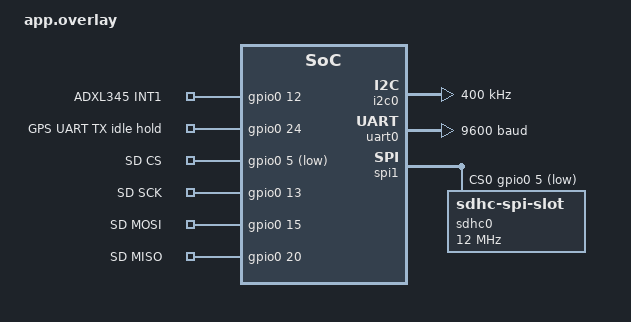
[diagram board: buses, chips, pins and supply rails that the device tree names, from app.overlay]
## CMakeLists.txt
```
cmake_minimum_required(VERSION 3.20.0)

find_package(Zephyr REQUIRED HINTS $ENV{ZEPHYR_BASE})
project(open_livestock_zephyr_logger)

target_sources(app PRIVATE
  src/main.c
  src/olg_adxl345.c
  src/olg_ble.c
  src/olg_bt.c
  src/olg_config.c
  src/olg_gateway.c
  src/olg_gps.c
  src/olg_power.c
  src/olg_ring.c
  src/olg_sd.c
  src/olg_storage.c
  src/olg_time.c
)
```

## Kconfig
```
mainmenu "Open Livestock GPS Zephyr Logger"

menu "Open Livestock GPS options"

config OLG_ACC_ENABLE
	bool "Enable ADXL345 accelerometer"
	default y

config OLG_ACC_ODR_MILLIHZ
	int "Accelerometer output data rate in millihertz"
	default 12500

config OLG_ACC_RANGE_G
	int "ADXL345 measurement range in g"
	default 16
	range 2 16
	help
	  Production CONFIG.TXT supports 2, 4, 8, and 16 g. Other values fall
	  back to 16 g at runtime.

config OLG_ACC_FIFO_WATERMARK
	int "Internal ADXL345 FIFO watermark sample count"
	default 25
	range 1 31
	help
	  Compile-time queueing detail. Field firmware exposes sample rate and
	  g range in CONFIG.TXT; the FIFO watermark stays internal.

config OLG_ACC_I2C_ADDR_PRIMARY
	hex "Primary ADXL345 I2C address"
	default 0x53

config OLG_ACC_I2C_ADDR_SECONDARY
	hex "Secondary ADXL345 I2C address"
	default 0x1d

config OLG_RING_BYTES
	int "RAM ring buffer size in bytes"
	default 32768

config OLG_RING_NORMAL_THRESHOLD_PERCENT
	int "Ring buffer normal flush threshold percent"
	default 95
	range 0 100

config OLG_RING_EMERG_THRESHOLD_PERCENT
	int "Ring buffer emergency flush threshold percent"
	default 98
	range 0 100

config OLG_BLE_ENABLE
	bool "Enable BLE observer scanner"
	default y
	depends on BT

config OLG_BLE_PERIOD_MS
	int "BLE scan period in milliseconds"
	default 60000

config OLG_BLE_WINDOW_MS
	int "BLE scan window duration in milliseconds"
	default 10000

config OLG_BLE_SCAN_INTERVAL_MS
	int "BLE scan interval in milliseconds"
	default 100

config OLG_BLE_SCAN_DUTY_PERMILLE
	int "BLE scan duty within scan interval, in per-mille"
	default 100
	range 1 1000

config OLG_GPS_ENABLE
	bool "Enable GPS UART/NMEA logger"
	default n
	depends on SERIAL

config OLG_GPS_INTERVAL_MS
	int "GPS attempt interval in milliseconds"
	default 180000
	depends on OLG_GPS_ENABLE

config OLG_GPS_TIMEOUT_MS
	int "GPS attempt timeout in milliseconds"
	default 15000
	depends on OLG_GPS_ENABLE

config OLG_GPS_BAUD
	int "GPS UART baud rate"
	default 9600
	depends on OLG_GPS_ENABLE

config OLG_GPS_MIN_SATS
	int "Minimum satellites before accepting a GPS fix"
	default 4
	range 0 32
	depends on OLG_GPS_ENABLE

config OLG_GPS_MIN_HDOP_CENTI
	int "Maximum accepted HDOP multiplied by 100"
	default 250
	depends on OLG_GPS_ENABLE

config OLG_GPS_BACKUP_SLEEP_ENABLE
	bool "Request SAM-M10Q backup sleep between GPS attempts"
	default y
	depends on OLG_GPS_ENABLE

config OLG_GPS_TX_IDLE_HIGH
	bool "Hold MCU GPS TX high after UART suspend"
	default y
	depends on OLG_GPS_ENABLE

config OLG_GPS_WAKE_SETTLE_MS
	int "GPS wake settle delay in milliseconds"
	default 250
	depends on OLG_GPS_ENABLE

config OLG_GPS_SLEEP_REFRESH_MS
	int "GPS backup sleep refresh period in milliseconds"
	default 30000
	depends on OLG_GPS_ENABLE

config OLG_GPS_POLL_BYTE_BUDGET
	int "Maximum GPS UART bytes processed per service pass"
	default 96
	range 1 512
	depends on OLG_GPS_ENABLE

config OLG_SD_ENABLE
	bool "Enable SD/FatFs binary log flush"
	default n
	depends on SPI && DISK_ACCESS && FILE_SYSTEM && FAT_FILESYSTEM_ELM

config OLG_SD_CLOSE_BETWEEN_FLUSHES
	bool "Close files and unmount SD between flush bursts"
	default y
	depends on OLG_SD_ENABLE

config OLG_SD_SEND_CMD0_ON_SLEEP
	bool "Send CMD0 by GPIO bit-bang before releasing SD bus"
	default y
	depends on OLG_SD_ENABLE

config OLG_SD_RELEASE_SPI_PINS_ON_SLEEP
	bool "Drive SD SPI pins to low-power states after writes"
	default y
	depends on OLG_SD_ENABLE

config OLG_SD_SYNC_EACH_LINE
	bool "Sync each binary block instead of syncing on close"
	default n
	depends on OLG_SD_ENABLE

config OLG_SD_BINARY_PAYLOAD_BYTES
	int "Maximum binary log payload per block"
	default 4096
	range 256 16384
	depends on OLG_SD_ENABLE

config OLG_SD_SEGMENT_BYTES
	int "Binary log segment rotation size"
	default 8388608
	depends on OLG_SD_ENABLE

config OLG_SD_FLUSH_FIRST_MS
	int "First failsafe SD flush delay in milliseconds"
	default 180000
	depends on OLG_SD_ENABLE

config OLG_SD_FLUSH_FAILSAFE_MS
	int "Recurring failsafe SD flush delay in milliseconds"
	default 900000
	depends on OLG_SD_ENABLE

config OLG_SD_FLUSH_MAX_EVENTS_BURST
	int "Maximum ring events to write per SD service burst"
	default 200
	range 1 2000
	depends on OLG_SD_ENABLE

config OLG_SD_RETRY_BACKOFF_MS
	int "SD retry backoff after a write/mount failure"
	default 300000
	depends on OLG_SD_ENABLE

config OLG_SD_BLOCK_FLUSH_DURING_GPS
	bool "Block non-emergency SD flushes during GPS attempts"
	default y
	depends on OLG_SD_ENABLE

config OLG_STATUS_LED
	bool "Enable solid status LED on startup fault"
	default n

config OLG_GATEWAY_ENABLE
	bool "Enable GATT gateway offload"
	default y
	depends on BT && BT_PERIPHERAL && BT_BROADCASTER

config OLG_GATEWAY_PERIOD_MS
	int "Gateway advertising period in milliseconds"
	default 60000
	depends on OLG_GATEWAY_ENABLE
	help
	  Backward-compatible alias for the eligible advertising period. New
	  runtime CONFIG.TXT files should prefer gateway_eligible_adv_period_ms.

config OLG_GATEWAY_UPLOAD_ACC
	bool "Allow gateway offload of raw accelerometer records"
	default n
	depends on OLG_GATEWAY_ENABLE
	help
	  The SD card always keeps the full binary archive. Keep this disabled for
	  lightweight gateway mode so the radio only carries GPS/BLE records.

config OLG_GATEWAY_UPLOAD_GPS
	bool "Allow gateway offload of GPS records"
	default y
	depends on OLG_GATEWAY_ENABLE

config OLG_GATEWAY_UPLOAD_BLE
	bool "Allow gateway offload of BLE records"
	default y
	depends on OLG_GATEWAY_ENABLE

config OLG_GATEWAY_ADV_WINDOW_MS
	int "Gateway advertising window in milliseconds"
	default 5000
	depends on OLG_GATEWAY_ENABLE
	help
	  Backward-compatible alias for the eligible advertising window. New
	  runtime CONFIG.TXT files should prefer gateway_eligible_adv_window_ms.

config OLG_GATEWAY_DOWNLOAD_COOLDOWN_MS
	int "Cooldown after a successful gateway download"
	default 21600000
	depends on OLG_GATEWAY_ENABLE

config OLG_GATEWAY_ELIGIBLE_ADV_PERIOD_MS
	int "Eligible gateway advertising period"
	default 60000
	depends on OLG_GATEWAY_ENABLE

config OLG_GATEWAY_ELIGIBLE_ADV_WINDOW_MS
	int "Eligible gateway advertising burst length"
	default 5000
	depends on OLG_GATEWAY_ENABLE

config OLG_GATEWAY_COOLDOWN_ADV_ENABLE
	bool "Advertise presence while inside gateway cooldown"
	default y
	depends on OLG_GATEWAY_ENABLE

config OLG_GATEWAY_COOLDOWN_ADV_PERIOD_MS
	int "Cooldown gateway advertising period"
	default 600000
	depends on OLG_GATEWAY_ENABLE

config OLG_GATEWAY_COOLDOWN_ADV_WINDOW_MS
	int "Cooldown gateway advertising burst length"
	default 3000
	depends on OLG_GATEWAY_ENABLE

config OLG_GATEWAY_SESSION_TIMEOUT_MS
	int "Gateway connection timeout in milliseconds"
	default 180000
	depends on OLG_GATEWAY_ENABLE

config OLG_GATEWAY_RETRY_COUNT
	int "Gateway short retry windows after failed transfer"
	default 2
	range 0 255
	depends on OLG_GATEWAY_ENABLE

config OLG_GATEWAY_RETRY_MIN_MS
	int "Minimum failed-transfer retry delay"
	default 60000
	depends on OLG_GATEWAY_ENABLE

config OLG_GATEWAY_RETRY_MAX_MS
	int "Maximum failed-transfer retry delay"
	default 180000
	depends on OLG_GATEWAY_ENABLE

config OLG_GATEWAY_CHUNK_BYTES
	int "Maximum GATT data payload per notify chunk"
	default 180
	range 32 240
	depends on OLG_GATEWAY_ENABLE

config OLG_MAIN_IDLE_MAX_MS
	int "Maximum main-loop sleep interval"
	default 60000

endmenu

source "Kconfig.zephyr"
```

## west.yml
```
manifest:
  version: "0.13"

  remotes:
    - name: zephyrproject-rtos
      url-base: https://github.com/zephyrproject-rtos

  projects:
    - name: zephyr
      remote: zephyrproject-rtos
      revision: v4.4.0
      import: true

  self:
    path: ZephyrLogger
```

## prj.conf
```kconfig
# Production runtime: compile in ACC, BLE, GPS, and SD. CONFIG.TXT decides
# which subsystems run in the field.
CONFIG_GPIO=y
CONFIG_I2C=y
CONFIG_SPI=y
CONFIG_SERIAL=y
CONFIG_RING_BUFFER=y
CONFIG_RING_BUFFER_LARGE=y
CONFIG_DISK_ACCESS=y
CONFIG_FILE_SYSTEM=y
CONFIG_FAT_FILESYSTEM_ELM=y
CONFIG_FS_FATFS_NUM_FILES=4
CONFIG_FS_FATFS_NUM_DIRS=1
CONFIG_FS_FATFS_HAS_RTC=n

CONFIG_BT=y
CONFIG_BT_OBSERVER=y
CONFIG_BT_DEVICE_NAME="OLG-Zephyr"
CONFIG_BT_SETTINGS=n
CONFIG_BT_PERIPHERAL=y
CONFIG_BT_BROADCASTER=y
CONFIG_BT_CENTRAL=n
CONFIG_BT_MAX_CONN=1
CONFIG_BT_L2CAP_TX_MTU=247
CONFIG_BT_BUF_ACL_RX_SIZE=251
CONFIG_BT_BUF_ACL_TX_SIZE=251

CONFIG_PM_DEVICE=y

CONFIG_LOG=n
CONFIG_PRINTK=n
CONFIG_CONSOLE=n
CONFIG_UART_CONSOLE=n
CONFIG_BOOT_BANNER=n
CONFIG_EARLY_CONSOLE=n
CONFIG_BOARD_SERIAL_BACKEND_CDC_ACM=n
CONFIG_USB_DEVICE_STACK=n
CONFIG_USB_DEVICE_STACK_NEXT=n
CONFIG_USBD_CDC_ACM_CLASS=n
CONFIG_CDC_ACM_SERIAL_INITIALIZE_AT_BOOT=n

CONFIG_MAIN_STACK_SIZE=4096
CONFIG_SYSTEM_WORKQUEUE_STACK_SIZE=2048

CONFIG_OLG_ACC_ENABLE=y
CONFIG_OLG_BLE_ENABLE=y
CONFIG_OLG_GPS_ENABLE=y
CONFIG_OLG_SD_ENABLE=y
CONFIG_OLG_GATEWAY_ENABLE=y

CONFIG_OLG_STATUS_LED=y
```

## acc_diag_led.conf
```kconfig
CONFIG_OLG_STATUS_LED=y
CONFIG_OLG_ACC_DIAG_LED=y
CONFIG_OLG_ACC_DIAG_LED_MS=150
CONFIG_OLG_ACC_DIAG_POLL_MS=2000
```

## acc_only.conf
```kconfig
CONFIG_BT=n
CONFIG_OLG_BLE_ENABLE=n
CONFIG_OLG_ACC_ENABLE=y
```

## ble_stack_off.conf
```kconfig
CONFIG_OLG_BLE_DISABLE_STACK_BETWEEN_WINDOWS=y
```

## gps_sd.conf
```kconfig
# GPS + SD feature-parity test build. ACC and BLE remain enabled from prj.conf.
CONFIG_SERIAL=y
CONFIG_SPI=y
CONFIG_DISK_ACCESS=y
CONFIG_FILE_SYSTEM=y
CONFIG_FAT_FILESYSTEM_ELM=y
CONFIG_FS_FATFS_NUM_FILES=4
CONFIG_FS_FATFS_NUM_DIRS=1
CONFIG_FS_FATFS_HAS_RTC=n
CONFIG_OLG_STATUS_LED=y

CONFIG_OLG_GPS_ENABLE=y
CONFIG_OLG_GPS_INTERVAL_MS=180000
CONFIG_OLG_GPS_TIMEOUT_MS=15000
CONFIG_OLG_GPS_BACKUP_SLEEP_ENABLE=y
CONFIG_OLG_GPS_TX_IDLE_HIGH=y
CONFIG_OLG_GPS_SLEEP_REFRESH_MS=30000

CONFIG_OLG_SD_ENABLE=y
CONFIG_OLG_SD_STARTUP_CHECK=y
CONFIG_OLG_SD_CLOSE_BETWEEN_FLUSHES=y
CONFIG_OLG_SD_SEND_CMD0_ON_SLEEP=y
CONFIG_OLG_SD_RELEASE_SPI_PINS_ON_SLEEP=y
CONFIG_OLG_SD_SYNC_EACH_LINE=n
CONFIG_OLG_SD_FLUSH_FIRST_MS=180000
CONFIG_OLG_SD_FLUSH_FAILSAFE_MS=900000
```

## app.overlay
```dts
#include <zephyr/dt-bindings/gpio/gpio.h>

/ {
	aliases {
		olg-adxl-int = &olg_adxl_int;
		olg-gps-tx = &olg_gps_tx;
		olg-sd-slot = &sdhc0;
		olg-sd-cs = &olg_sd_cs;
		olg-sd-sck = &olg_sd_sck;
		olg-sd-mosi = &olg_sd_mosi;
		olg-sd-miso = &olg_sd_miso;
	};

	olg_adxl_ints {
		compatible = "gpio-keys";

		olg_adxl_int: adxl_int {
			gpios = <&gpio0 12 GPIO_ACTIVE_HIGH>; /* ItsyBitsy D13 / P0.12 */
			label = "ADXL345 INT1";
		};
	};

	olg_gps_pins {
		compatible = "gpio-keys";

		olg_gps_tx: gps_tx {
			gpios = <&gpio0 24 GPIO_ACTIVE_HIGH>; /* ItsyBitsy D1 / GPS RX */
			label = "GPS UART TX idle hold";
		};
	};

	olg_sd_pins {
		compatible = "gpio-keys";

		olg_sd_cs: sd_cs {
			gpios = <&gpio0 5 GPIO_ACTIVE_LOW>; /* ItsyBitsy D10 */
			label = "SD CS";
		};

		olg_sd_sck: sd_sck {
			gpios = <&gpio0 13 GPIO_ACTIVE_HIGH>; /* ItsyBitsy D25 */
			label = "SD SCK";
		};

		olg_sd_mosi: sd_mosi {
			gpios = <&gpio0 15 GPIO_ACTIVE_HIGH>; /* ItsyBitsy D24 */
			label = "SD MOSI";
		};

		olg_sd_miso: sd_miso {
			gpios = <&gpio0 20 GPIO_ACTIVE_HIGH>; /* ItsyBitsy D23 */
			label = "SD MISO";
		};
	};
};

&i2c0 {
	status = "okay";
	clock-frequency = <400000>;
};

&uart0 {
	status = "okay";
	current-speed = <9600>;
};

&spi1 {
	status = "okay";
	cs-gpios = <&gpio0 5 GPIO_ACTIVE_LOW>;

	sdhc0: sdhc@0 {
		compatible = "zephyr,sdhc-spi-slot";
		reg = <0>;
		status = "okay";
		spi-max-frequency = <12000000>;
		power-delay-ms = <5>;

		mmc {
			compatible = "zephyr,sdmmc-disk";
			disk-name = "SD";
			status = "okay";
		};
	};
};

/* Keep the production logger quiet and avoid unused board peripherals. */
&adc {
	status = "disabled";
};

&usbd {
	status = "disabled";
};

&spi2 {
	status = "disabled"; /* DotStar SPI */
};

&qspi {
	status = "disabled";
};
```

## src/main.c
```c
#include <stdbool.h>
#include <stdint.h>

#include <zephyr/kernel.h>
#include <zephyr/sys/util.h>

#include "olg_adxl345.h"
#include "olg_ble.h"
#include "olg_config.h"
#include "olg_gateway.h"
#include "olg_gps.h"
#include "olg_power.h"
#include "olg_ring.h"
#include "olg_sd.h"
#include "olg_storage.h"
#include "olg_time.h"

static uint32_t min_u32(uint32_t a, uint32_t b)
{
	return a < b ? a : b;
}

static uint32_t bounded_idle_ms(uint32_t now_ms)
{
	uint32_t idle_ms = CONFIG_OLG_MAIN_IDLE_MAX_MS;

	if (idle_ms < 1U) {
		idle_ms = 1U;
	}

	idle_ms = min_u32(idle_ms, olg_ble_ms_until_transition(now_ms));
	idle_ms = min_u32(idle_ms, olg_gateway_ms_until_transition(now_ms));
	idle_ms = min_u32(idle_ms, olg_gps_ms_until_transition(now_ms));
	idle_ms = min_u32(idle_ms, olg_sd_ms_until_transition(now_ms));

	if (idle_ms < 1U || idle_ms == UINT32_MAX) {
		idle_ms = 1U;
	}

	return idle_ms;
}

int main(void)
{
	bool init_failed = false;
	bool storage_ready = false;

	if (olg_power_init()) {
		init_failed = true;
	}

	olg_time_init();
	olg_ring_init();
	olg_config_init_defaults();

	if (!init_failed && olg_storage_startup()) {
		init_failed = true;
	} else if (!init_failed) {
		storage_ready = true;
	}

	if (storage_ready) {
		if (olg_adxl345_init()) {
			init_failed = true;
		}
		if (olg_ble_init()) {
			init_failed = true;
		}
		if (olg_gateway_init()) {
			init_failed = true;
		}
		if (olg_gps_init()) {
			init_failed = true;
		}
	}

	if (init_failed) {
		olg_power_status_fault();
	} else {
		olg_power_status_ok();
	}

	while (true) {
		uint32_t now_ms = k_uptime_get_32();

		if (storage_ready) {
			olg_gateway_service(now_ms);
			olg_ble_service(now_ms);
			olg_gps_service(now_ms);
			olg_sd_service(now_ms);
		}

		olg_power_idle(storage_ready ? bounded_idle_ms(k_uptime_get_32()) :
			       CONFIG_OLG_MAIN_IDLE_MAX_MS);
	}

	return 0;
}
```

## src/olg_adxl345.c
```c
#include "olg_adxl345.h"

#include <errno.h>

#include <zephyr/device.h>
#include <zephyr/drivers/gpio.h>
#include <zephyr/drivers/i2c.h>
#include <zephyr/kernel.h>
#include <zephyr/pm/device.h>
#include <zephyr/sys/atomic.h>

#include "olg_config.h"
#include "olg_ring.h"

#define ADXL_DEVID_VALUE 0xe5

#define REG_DEVID       0x00
#define REG_BW_RATE     0x2c
#define REG_POWER_CTL   0x2d
#define REG_INT_ENABLE  0x2e
#define REG_INT_MAP     0x2f
#define REG_INT_SOURCE  0x30
#define REG_DATA_FORMAT 0x31
#define REG_DATAX0      0x32
#define REG_FIFO_CTL    0x38
#define REG_FIFO_STATUS 0x39

#define INT_OVERRUN     BIT(0)
#define INT_WATERMARK   BIT(1)

#define DATA_FORMAT_FULL_RES BIT(3)
#define DATA_FORMAT_RANGE_2G  0x00
#define DATA_FORMAT_RANGE_4G  0x01
#define DATA_FORMAT_RANGE_8G  0x02
#define DATA_FORMAT_RANGE_16G 0x03
#define POWER_CTL_MEASURE    BIT(3)
#define FIFO_STREAM_MODE     0x80

#define ADXL_INT_NODE DT_ALIAS(olg_adxl_int)

static const struct device *const i2c_dev = DEVICE_DT_GET(DT_NODELABEL(i2c0));
static const struct gpio_dt_spec int_gpio = GPIO_DT_SPEC_GET(ADXL_INT_NODE, gpios);
static struct gpio_callback int_cb;
static struct k_work drain_work;

static uint8_t adxl_addr;
static atomic_t sample_count;
static atomic_t drain_count;
static atomic_t i2c_failures;

static int configure_fifo_interrupt(gpio_flags_t flags)
{
	return gpio_pin_interrupt_configure_dt(&int_gpio, flags);
}

static void resume_i2c(void)
{
	if (IS_ENABLED(CONFIG_PM_DEVICE)) {
		(void)pm_device_action_run(i2c_dev, PM_DEVICE_ACTION_RESUME);
	}
}

static void suspend_i2c(void)
{
	if (IS_ENABLED(CONFIG_PM_DEVICE)) {
		(void)pm_device_action_run(i2c_dev, PM_DEVICE_ACTION_SUSPEND);
	}
}

static int write_reg(uint8_t reg, uint8_t value)
{
	uint8_t data[2] = { reg, value };
	int err = i2c_write(i2c_dev, data, sizeof(data), adxl_addr);

	if (err) {
		atomic_inc(&i2c_failures);
	}

	return err;
}

static int read_regs(uint8_t reg, uint8_t *dst, size_t len)
{
	int err = i2c_write_read(i2c_dev, adxl_addr, &reg, 1, dst, len);

	if (err) {
		atomic_inc(&i2c_failures);
	}

	return err;
}

static int read_reg_at(uint8_t addr, uint8_t reg, uint8_t *value)
{
	int err = i2c_write_read(i2c_dev, addr, &reg, 1, value, 1);

	if (err) {
		atomic_inc(&i2c_failures);
	}

	return err;
}

static uint8_t bw_rate_for_millihz(uint32_t mhz)
{
	if (mhz <= 100) {
		return 0x00;
	}
	if (mhz <= 200) {
		return 0x01;
	}
	if (mhz <= 390) {
		return 0x02;
	}
	if (mhz <= 780) {
		return 0x03;
	}
	if (mhz <= 1560) {
		return 0x04;
	}
	if (mhz <= 3130) {
		return 0x05;
	}
	if (mhz <= 6250) {
		return 0x06;
	}
	if (mhz <= 12500) {
		return 0x07;
	}
	if (mhz <= 25000) {
		return 0x08;
	}
	if (mhz <= 50000) {
		return 0x09;
	}
	if (mhz <= 100000) {
		return 0x0a;
	}
	if (mhz <= 200000) {
		return 0x0b;
	}
	if (mhz <= 400000) {
		return 0x0c;
	}
	if (mhz <= 800000) {
		return 0x0d;
	}
	if (mhz <= 1600000) {
		return 0x0e;
	}

	return 0x0f;
}

static uint8_t data_format_range_bits(uint8_t range_g)
{
	switch (range_g) {
	case 2:
		return DATA_FORMAT_RANGE_2G;
	case 4:
		return DATA_FORMAT_RANGE_4G;
	case 8:
		return DATA_FORMAT_RANGE_8G;
	case 16:
	default:
		return DATA_FORMAT_RANGE_16G;
	}
}

static uint8_t fifo_watermark(void)
{
	if (CONFIG_OLG_ACC_FIFO_WATERMARK < 1) {
		return 1;
	}
	if (CONFIG_OLG_ACC_FIFO_WATERMARK > 31) {
		return 31;
	}

	return CONFIG_OLG_ACC_FIFO_WATERMARK;
}

static int find_adxl(void)
{
	uint8_t devid = 0;

	if (!read_reg_at(CONFIG_OLG_ACC_I2C_ADDR_PRIMARY, REG_DEVID, &devid) &&
	    devid == ADXL_DEVID_VALUE) {
		adxl_addr = CONFIG_OLG_ACC_I2C_ADDR_PRIMARY;
		return 0;
	}

	if (!read_reg_at(CONFIG_OLG_ACC_I2C_ADDR_SECONDARY, REG_DEVID, &devid) &&
	    devid == ADXL_DEVID_VALUE) {
		adxl_addr = CONFIG_OLG_ACC_I2C_ADDR_SECONDARY;
		return 0;
	}

	return -ENODEV;
}

static uint8_t fifo_entries(void)
{
	uint8_t status = 0;

	if (read_regs(REG_FIFO_STATUS, &status, 1)) {
		return 0;
	}

	return status & 0x3f;
}

static int read_raw_sample(int16_t *x, int16_t *y, int16_t *z)
{
	uint8_t raw[6];
	int err = read_regs(REG_DATAX0, raw, sizeof(raw));

	if (err) {
		return err;
	}

	*x = (int16_t)((raw[1] << 8) | raw[0]);
	*y = (int16_t)((raw[3] << 8) | raw[2]);
	*z = (int16_t)((raw[5] << 8) | raw[4]);
	return 0;
}

static void drain_fifo(struct k_work *work)
{
	ARG_UNUSED(work);

	resume_i2c();

	uint8_t src = 0;
	(void)read_regs(REG_INT_SOURCE, &src, 1);

	uint8_t entries = fifo_entries();
	if (entries > 32) {
		entries = 32;
	}

	const uint32_t now = k_uptime_get_32();
	const struct olg_config *cfg = olg_config_get();
	const uint32_t sample_period_ms =
		cfg->acc_odr_millihz > 0U ? (1000000U / cfg->acc_odr_millihz) : 0U;

	for (uint8_t i = 0; i < entries; i++) {
		int16_t x;
		int16_t y;
		int16_t z;

		if (read_raw_sample(&x, &y, &z)) {
			break;
		}

		uint32_t sample_ms = now;
		if (sample_period_ms > 0) {
			uint32_t age_ms = (uint32_t)(entries - 1U - i) * sample_period_ms;
			sample_ms = now >= age_ms ? now - age_ms : 0;
		}

		(void)olg_ring_push_acc(sample_ms, x, y, z);
		atomic_inc(&sample_count);
	}

	(void)read_regs(REG_INT_SOURCE, &src, 1);
	atomic_inc(&drain_count);
	suspend_i2c();
	(void)configure_fifo_interrupt(GPIO_INT_LEVEL_ACTIVE);
}

static void gpio_isr(const struct device *dev, struct gpio_callback *cb, uint32_t pins)
{
	ARG_UNUSED(dev);
	ARG_UNUSED(cb);
	ARG_UNUSED(pins);

	(void)configure_fifo_interrupt(GPIO_INT_DISABLE);
	(void)k_work_submit(&drain_work);
}

int olg_adxl345_init(void)
{
	if (!IS_ENABLED(CONFIG_OLG_ACC_ENABLE)) {
		return 0;
	}

	const struct olg_config *cfg = olg_config_get();
	if (!cfg->acc_enabled) {
		return 0;
	}

	if (!device_is_ready(i2c_dev) || !gpio_is_ready_dt(&int_gpio)) {
		return -ENODEV;
	}

	resume_i2c();

	int err = find_adxl();
	if (err) {
		suspend_i2c();
		return err;
	}

	k_work_init(&drain_work, drain_fifo);

	uint8_t bw_rate = bw_rate_for_millihz(cfg->acc_odr_millihz);
	if (bw_rate >= 0x07 && bw_rate <= 0x0c) {
		bw_rate |= BIT(4);
	}

	uint8_t watermark = fifo_watermark();

	err = write_reg(REG_POWER_CTL, 0x00);
	err |= write_reg(REG_BW_RATE, bw_rate);
	err |= write_reg(REG_DATA_FORMAT, DATA_FORMAT_FULL_RES |
					      data_format_range_bits(cfg->acc_range_g));
	err |= write_reg(REG_FIFO_CTL, FIFO_STREAM_MODE | watermark);
	err |= write_reg(REG_INT_MAP, 0x00);
	err |= write_reg(REG_INT_ENABLE, INT_WATERMARK | INT_OVERRUN);
	err |= write_reg(REG_POWER_CTL, POWER_CTL_MEASURE);
	if (err) {
		suspend_i2c();
		return err;
	}

	uint8_t src = 0;
	(void)read_regs(REG_INT_SOURCE, &src, 1);

	err = gpio_pin_configure_dt(&int_gpio, GPIO_INPUT);
	if (err) {
		suspend_i2c();
		return err;
	}

	gpio_init_callback(&int_cb, gpio_isr, BIT(int_gpio.pin));
	err = gpio_add_callback(int_gpio.port, &int_cb);
	if (err) {
		suspend_i2c();
		return err;
	}

	err = configure_fifo_interrupt(GPIO_INT_LEVEL_ACTIVE);
	if (!err) {
		(void)k_work_submit(&drain_work);
	}

	suspend_i2c();
	return err;
}

uint32_t olg_adxl345_sample_count(void)
{
	return (uint32_t)atomic_get(&sample_count);
}

uint32_t olg_adxl345_drain_count(void)
{
	return (uint32_t)atomic_get(&drain_count);
}

uint32_t olg_adxl345_i2c_failures(void)
{
	return (uint32_t)atomic_get(&i2c_failures);
}
```

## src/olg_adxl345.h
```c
#ifndef OLG_ADXL345_H
#define OLG_ADXL345_H

#include <stdint.h>

int olg_adxl345_init(void);
uint32_t olg_adxl345_sample_count(void);
uint32_t olg_adxl345_drain_count(void);
uint32_t olg_adxl345_i2c_failures(void);

#endif
```

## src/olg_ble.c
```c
#include "olg_ble.h"

#include <errno.h>
#include <stdbool.h>
#include <stdint.h>

#include <zephyr/kernel.h>
#include <zephyr/sys/atomic.h>
#include <zephyr/sys/util.h>

#include "olg_bt.h"
#include "olg_config.h"
#include "olg_ring.h"

#if IS_ENABLED(CONFIG_BT) && IS_ENABLED(CONFIG_OLG_BLE_ENABLE)
#include <zephyr/bluetooth/bluetooth.h>
#include <zephyr/net_buf.h>
#endif

static atomic_t seen_count;
static atomic_t scan_start_count;
static atomic_t scan_stop_count;
static atomic_t error_count;

#if IS_ENABLED(CONFIG_BT) && IS_ENABLED(CONFIG_OLG_BLE_ENABLE)
static bool scanning;
static bool paused;
static uint32_t next_scan_start_ms;
static uint32_t scan_stop_ms;

static bool time_reached(uint32_t now_ms, uint32_t target_ms)
{
	return (int32_t)(now_ms - target_ms) >= 0;
}

static uint16_t scan_units_from_ms(uint32_t ms)
{
	uint32_t units = (ms * 1600U + 999U) / 1000U;

	if (units < 1U) {
		units = 1U;
	}
	if (units > UINT16_MAX) {
		units = UINT16_MAX;
	}

	return (uint16_t)units;
}

static uint16_t configured_scan_window_units(void)
{
	const struct olg_config *cfg = olg_config_get();
	uint32_t interval_ms = cfg->ble_scan_interval_ms;
	uint32_t window_ms = cfg->ble_scan_window_ms;

	if (window_ms < 1U) {
		window_ms = 1U;
	}
	if (window_ms > interval_ms) {
		window_ms = interval_ms;
	}

	return scan_units_from_ms(window_ms);
}

static void scan_cb(const bt_addr_le_t *addr, int8_t rssi, uint8_t adv_type,
		    struct net_buf_simple *buf)
{
	ARG_UNUSED(adv_type);
	ARG_UNUSED(buf);

	if (addr == NULL) {
		return;
	}

	(void)olg_ring_push_ble(k_uptime_get_32(), addr->a.val, rssi);
	atomic_inc(&seen_count);
}

static void schedule_next_period(uint32_t now_ms)
{
	const struct olg_config *cfg = olg_config_get();
	uint32_t period_ms = cfg->ble_period_ms;

	if (period_ms < 1U) {
		period_ms = 1U;
	}

	do {
		next_scan_start_ms += period_ms;
	} while (time_reached(now_ms, next_scan_start_ms));
}

static void start_scan(uint32_t now_ms)
{
	const struct olg_config *cfg = olg_config_get();
	uint32_t interval_ms = cfg->ble_scan_interval_ms;

	if (interval_ms < 1U) {
		interval_ms = 1U;
	}

	if (olg_bt_enable()) {
		atomic_inc(&error_count);
		next_scan_start_ms = now_ms + cfg->ble_period_ms;
		return;
	}

	const struct bt_le_scan_param params = {
		.type = BT_LE_SCAN_TYPE_PASSIVE,
		.options = BT_LE_SCAN_OPT_FILTER_DUPLICATE,
		.interval = scan_units_from_ms(interval_ms),
		.window = configured_scan_window_units(),
		.timeout = 0,
		.interval_coded = 0,
		.window_coded = 0,
	};

	int err = bt_le_scan_start(&params, scan_cb);
	if (err && err != -EALREADY) {
		atomic_inc(&error_count);
		next_scan_start_ms = now_ms + cfg->ble_period_ms;
		return;
	}

	scanning = true;
	scan_stop_ms = next_scan_start_ms + cfg->ble_window_ms;
	if (cfg->ble_window_ms < 1U || time_reached(now_ms, scan_stop_ms)) {
		scan_stop_ms = now_ms + 1U;
	}

	atomic_inc(&scan_start_count);
}

static void stop_scan(uint32_t now_ms)
{
	int err = bt_le_scan_stop();

	if (err && err != -EALREADY) {
		atomic_inc(&error_count);
	}

	scanning = false;
	atomic_inc(&scan_stop_count);
	schedule_next_period(now_ms);
}
#endif

int olg_ble_init(void)
{
	atomic_clear(&seen_count);
	atomic_clear(&scan_start_count);
	atomic_clear(&scan_stop_count);
	atomic_clear(&error_count);

#if IS_ENABLED(CONFIG_BT) && IS_ENABLED(CONFIG_OLG_BLE_ENABLE)
	const struct olg_config *cfg = olg_config_get();
	if (!cfg->ble_enabled) {
		return 0;
	}

	next_scan_start_ms = k_uptime_get_32() + cfg->ble_period_ms;
	scan_stop_ms = next_scan_start_ms + cfg->ble_window_ms;
	paused = false;

	int err = olg_bt_enable();
	if (err) {
		atomic_inc(&error_count);
	}

	return err;
#else
	return 0;
#endif
}

void olg_ble_service(uint32_t now_ms)
{
#if IS_ENABLED(CONFIG_BT) && IS_ENABLED(CONFIG_OLG_BLE_ENABLE)
	const struct olg_config *cfg = olg_config_get();
	if (!cfg->ble_enabled) {
		return;
	}

	if (paused) {
		if (scanning) {
			stop_scan(now_ms);
		}
		return;
	}

	if (scanning) {
		if (time_reached(now_ms, scan_stop_ms)) {
			stop_scan(now_ms);
		}
		return;
	}

	if (time_reached(now_ms, next_scan_start_ms)) {
		start_scan(now_ms);
	}
#else
	ARG_UNUSED(now_ms);
#endif
}

void olg_ble_pause(bool pause)
{
#if IS_ENABLED(CONFIG_BT) && IS_ENABLED(CONFIG_OLG_BLE_ENABLE)
	paused = pause;
	if (pause && scanning) {
		stop_scan(k_uptime_get_32());
	}
#else
	ARG_UNUSED(pause);
#endif
}

uint32_t olg_ble_ms_until_transition(uint32_t now_ms)
{
#if IS_ENABLED(CONFIG_BT) && IS_ENABLED(CONFIG_OLG_BLE_ENABLE)
	const struct olg_config *cfg = olg_config_get();
	if (!cfg->ble_enabled || paused) {
		return UINT32_MAX;
	}

	uint32_t target_ms = scanning ? scan_stop_ms : next_scan_start_ms;

	if (time_reached(now_ms, target_ms)) {
		return 1U;
	}

	return target_ms - now_ms;
#else
	ARG_UNUSED(now_ms);
	return UINT32_MAX;
#endif
}

uint32_t olg_ble_seen_count(void)
{
	return (uint32_t)atomic_get(&seen_count);
}

uint32_t olg_ble_scan_start_count(void)
{
	return (uint32_t)atomic_get(&scan_start_count);
}

uint32_t olg_ble_scan_stop_count(void)
{
	return (uint32_t)atomic_get(&scan_stop_count);
}

uint32_t olg_ble_error_count(void)
{
	return (uint32_t)atomic_get(&error_count);
}
```

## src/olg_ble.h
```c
#pragma once

#include <stdbool.h>
#include <stdint.h>

int olg_ble_init(void);
void olg_ble_service(uint32_t now_ms);
void olg_ble_pause(bool pause);
uint32_t olg_ble_ms_until_transition(uint32_t now_ms);
uint32_t olg_ble_seen_count(void);
uint32_t olg_ble_scan_start_count(void);
uint32_t olg_ble_scan_stop_count(void);
uint32_t olg_ble_error_count(void);
```

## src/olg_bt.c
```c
#include "olg_bt.h"

#include <errno.h>
#include <stdbool.h>

#include <zephyr/sys/util.h>

#if IS_ENABLED(CONFIG_BT)
#include <zephyr/bluetooth/bluetooth.h>
#endif

static bool bt_ready;

int olg_bt_enable(void)
{
#if IS_ENABLED(CONFIG_BT)
	if (bt_ready) {
		return 0;
	}

	int err = bt_enable(NULL);
	if (err && err != -EALREADY) {
		return err;
	}

	bt_ready = true;
	return 0;
#else
	return 0;
#endif
}

bool olg_bt_enabled(void)
{
	return bt_ready;
}
```

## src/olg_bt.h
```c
#pragma once

#include <stdbool.h>

int olg_bt_enable(void);
bool olg_bt_enabled(void);
```

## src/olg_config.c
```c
#include "olg_config.h"

#include <ctype.h>
#include <errno.h>
#include <stdbool.h>
#include <stdint.h>
#include <stdio.h>
#include <stdlib.h>
#include <string.h>

#include <zephyr/sys/util.h>

#if IS_ENABLED(CONFIG_FILE_SYSTEM)
#include <zephyr/fs/fs.h>
#endif

#ifndef CONFIG_OLG_ACC_ODR_MILLIHZ
#define CONFIG_OLG_ACC_ODR_MILLIHZ 12500
#endif
#ifndef CONFIG_OLG_ACC_RANGE_G
#define CONFIG_OLG_ACC_RANGE_G 16
#endif
#ifndef CONFIG_OLG_BLE_PERIOD_MS
#define CONFIG_OLG_BLE_PERIOD_MS 60000
#endif
#ifndef CONFIG_OLG_BLE_WINDOW_MS
#define CONFIG_OLG_BLE_WINDOW_MS 10000
#endif
#ifndef CONFIG_OLG_BLE_SCAN_INTERVAL_MS
#define CONFIG_OLG_BLE_SCAN_INTERVAL_MS 100
#endif
#ifndef CONFIG_OLG_BLE_SCAN_DUTY_PERMILLE
#define CONFIG_OLG_BLE_SCAN_DUTY_PERMILLE 100
#endif
#ifndef CONFIG_OLG_GPS_INTERVAL_MS
#define CONFIG_OLG_GPS_INTERVAL_MS 180000
#endif
#ifndef CONFIG_OLG_GPS_TIMEOUT_MS
#define CONFIG_OLG_GPS_TIMEOUT_MS 15000
#endif
#ifndef CONFIG_OLG_GPS_MIN_SATS
#define CONFIG_OLG_GPS_MIN_SATS 4
#endif
#ifndef CONFIG_OLG_GPS_MIN_HDOP_CENTI
#define CONFIG_OLG_GPS_MIN_HDOP_CENTI 250
#endif
#ifndef CONFIG_OLG_GATEWAY_PERIOD_MS
#define CONFIG_OLG_GATEWAY_PERIOD_MS 60000
#endif
#ifndef CONFIG_OLG_GATEWAY_UPLOAD_ACC
#define CONFIG_OLG_GATEWAY_UPLOAD_ACC 0
#endif
#ifndef CONFIG_OLG_GATEWAY_UPLOAD_GPS
#define CONFIG_OLG_GATEWAY_UPLOAD_GPS 1
#endif
#ifndef CONFIG_OLG_GATEWAY_UPLOAD_BLE
#define CONFIG_OLG_GATEWAY_UPLOAD_BLE 1
#endif
#ifndef CONFIG_OLG_GATEWAY_ADV_WINDOW_MS
#define CONFIG_OLG_GATEWAY_ADV_WINDOW_MS 5000
#endif
#ifndef CONFIG_OLG_GATEWAY_DOWNLOAD_COOLDOWN_MS
#define CONFIG_OLG_GATEWAY_DOWNLOAD_COOLDOWN_MS 21600000
#endif
#ifndef CONFIG_OLG_GATEWAY_ELIGIBLE_ADV_PERIOD_MS
#define CONFIG_OLG_GATEWAY_ELIGIBLE_ADV_PERIOD_MS 60000
#endif
#ifndef CONFIG_OLG_GATEWAY_ELIGIBLE_ADV_WINDOW_MS
#define CONFIG_OLG_GATEWAY_ELIGIBLE_ADV_WINDOW_MS 5000
#endif
#ifndef CONFIG_OLG_GATEWAY_COOLDOWN_ADV_ENABLE
#define CONFIG_OLG_GATEWAY_COOLDOWN_ADV_ENABLE 1
#endif
#ifndef CONFIG_OLG_GATEWAY_COOLDOWN_ADV_PERIOD_MS
#define CONFIG_OLG_GATEWAY_COOLDOWN_ADV_PERIOD_MS 600000
#endif
#ifndef CONFIG_OLG_GATEWAY_COOLDOWN_ADV_WINDOW_MS
#define CONFIG_OLG_GATEWAY_COOLDOWN_ADV_WINDOW_MS 3000
#endif
#ifndef CONFIG_OLG_GATEWAY_SESSION_TIMEOUT_MS
#define CONFIG_OLG_GATEWAY_SESSION_TIMEOUT_MS 180000
#endif
#ifndef CONFIG_OLG_GATEWAY_RETRY_COUNT
#define CONFIG_OLG_GATEWAY_RETRY_COUNT 2
#endif
#ifndef CONFIG_OLG_GATEWAY_RETRY_MIN_MS
#define CONFIG_OLG_GATEWAY_RETRY_MIN_MS 60000
#endif
#ifndef CONFIG_OLG_GATEWAY_RETRY_MAX_MS
#define CONFIG_OLG_GATEWAY_RETRY_MAX_MS 180000
#endif

static struct olg_config cfg;

static uint32_t clamp_u32(uint32_t value, uint32_t low, uint32_t high)
{
	if (value < low) {
		return low;
	}
	if (value > high) {
		return high;
	}
	return value;
}

static uint32_t default_scan_window_ms(void)
{
	uint32_t interval_ms = MAX(CONFIG_OLG_BLE_SCAN_INTERVAL_MS, 1);
	uint32_t window_ms = (interval_ms * CONFIG_OLG_BLE_SCAN_DUTY_PERMILLE) / 1000U;

	return clamp_u32(window_ms, 1U, interval_ms);
}

static uint32_t normalize_acc_odr(uint32_t millihz)
{
	switch (millihz) {
	case 12500:
	case 25000:
	case 50000:
	case 100000:
		return millihz;
	default:
		return 12500;
	}
}

static uint8_t normalize_acc_range_g(uint32_t range_g)
{
	switch (range_g) {
	case 2:
	case 4:
	case 8:
	case 16:
		return (uint8_t)range_g;
	default:
		return 16;
	}
}

static void finalize_config(void)
{
	cfg.acc_enabled = cfg.acc_enabled && IS_ENABLED(CONFIG_OLG_ACC_ENABLE);
	cfg.acc_odr_millihz = normalize_acc_odr(cfg.acc_odr_millihz);
	cfg.acc_range_g = normalize_acc_range_g(cfg.acc_range_g);

	cfg.ble_enabled = cfg.ble_enabled && IS_ENABLED(CONFIG_OLG_BLE_ENABLE);
	cfg.ble_period_ms = MAX(cfg.ble_period_ms, 1U);
	cfg.ble_window_ms = MAX(cfg.ble_window_ms, 1U);
	cfg.ble_scan_interval_ms = MAX(cfg.ble_scan_interval_ms, 1U);
	cfg.ble_scan_window_ms = clamp_u32(cfg.ble_scan_window_ms, 1U,
					   cfg.ble_scan_interval_ms);

	cfg.gps_enabled = cfg.gps_enabled && IS_ENABLED(CONFIG_OLG_GPS_ENABLE);
	cfg.gps_interval_ms = MAX(cfg.gps_interval_ms, 1U);
	cfg.gps_timeout_ms = MAX(cfg.gps_timeout_ms, 1U);
	cfg.gps_min_sats = (uint8_t)clamp_u32(cfg.gps_min_sats, 0U, 32U);

	cfg.gateway_enabled = cfg.gateway_enabled && IS_ENABLED(CONFIG_OLG_GATEWAY_ENABLE);
	cfg.gateway_upload_acc = cfg.gateway_upload_acc && cfg.acc_enabled;
	cfg.gateway_upload_gps = cfg.gateway_upload_gps && cfg.gps_enabled;
	cfg.gateway_upload_ble = cfg.gateway_upload_ble && cfg.ble_enabled;
	cfg.gateway_period_ms = MAX(cfg.gateway_period_ms, 1U);
	cfg.gateway_adv_window_ms = MAX(cfg.gateway_adv_window_ms, 1U);
	cfg.gateway_download_cooldown_ms = MAX(cfg.gateway_download_cooldown_ms, 1U);
	cfg.gateway_eligible_adv_period_ms = MAX(cfg.gateway_eligible_adv_period_ms, 1U);
	cfg.gateway_eligible_adv_window_ms =
		clamp_u32(cfg.gateway_eligible_adv_window_ms, 1U,
			  cfg.gateway_eligible_adv_period_ms);
	cfg.gateway_period_ms = cfg.gateway_eligible_adv_period_ms;
	cfg.gateway_adv_window_ms = cfg.gateway_eligible_adv_window_ms;
	cfg.gateway_cooldown_adv_period_ms = MAX(cfg.gateway_cooldown_adv_period_ms, 1U);
	cfg.gateway_cooldown_adv_window_ms =
		clamp_u32(cfg.gateway_cooldown_adv_window_ms, 1U,
			  cfg.gateway_cooldown_adv_period_ms);
	cfg.gateway_session_timeout_ms = MAX(cfg.gateway_session_timeout_ms, 1U);
	cfg.gateway_retry_min_ms = MAX(cfg.gateway_retry_min_ms, 1U);
	cfg.gateway_retry_max_ms = MAX(cfg.gateway_retry_max_ms, cfg.gateway_retry_min_ms);
}

void olg_config_init_defaults(void)
{
	cfg.acc_enabled = IS_ENABLED(CONFIG_OLG_ACC_ENABLE);
	cfg.acc_odr_millihz = normalize_acc_odr(CONFIG_OLG_ACC_ODR_MILLIHZ);
	cfg.acc_range_g = normalize_acc_range_g(CONFIG_OLG_ACC_RANGE_G);

	cfg.ble_enabled = IS_ENABLED(CONFIG_OLG_BLE_ENABLE);
	cfg.ble_period_ms = MAX(CONFIG_OLG_BLE_PERIOD_MS, 1);
	cfg.ble_window_ms = MAX(CONFIG_OLG_BLE_WINDOW_MS, 1);
	cfg.ble_scan_interval_ms = MAX(CONFIG_OLG_BLE_SCAN_INTERVAL_MS, 1);
	cfg.ble_scan_window_ms = default_scan_window_ms();

	cfg.gps_enabled = IS_ENABLED(CONFIG_OLG_GPS_ENABLE);
	cfg.gps_interval_ms = MAX(CONFIG_OLG_GPS_INTERVAL_MS, 1);
	cfg.gps_timeout_ms = MAX(CONFIG_OLG_GPS_TIMEOUT_MS, 1);
	cfg.gps_min_sats = (uint8_t)clamp_u32(CONFIG_OLG_GPS_MIN_SATS, 0U, 32U);
	cfg.gps_min_hdop_centi = CONFIG_OLG_GPS_MIN_HDOP_CENTI;

	cfg.gateway_enabled = IS_ENABLED(CONFIG_OLG_GATEWAY_ENABLE);
	cfg.gateway_upload_acc = IS_ENABLED(CONFIG_OLG_GATEWAY_UPLOAD_ACC);
	cfg.gateway_upload_gps = IS_ENABLED(CONFIG_OLG_GATEWAY_UPLOAD_GPS);
	cfg.gateway_upload_ble = IS_ENABLED(CONFIG_OLG_GATEWAY_UPLOAD_BLE);
	cfg.gateway_period_ms = MAX(CONFIG_OLG_GATEWAY_PERIOD_MS, 1);
	cfg.gateway_adv_window_ms = MAX(CONFIG_OLG_GATEWAY_ADV_WINDOW_MS, 1);
	cfg.gateway_download_cooldown_ms = MAX(CONFIG_OLG_GATEWAY_DOWNLOAD_COOLDOWN_MS, 1);
	cfg.gateway_eligible_adv_period_ms = MAX(CONFIG_OLG_GATEWAY_ELIGIBLE_ADV_PERIOD_MS, 1);
	cfg.gateway_eligible_adv_window_ms = MAX(CONFIG_OLG_GATEWAY_ELIGIBLE_ADV_WINDOW_MS, 1);
	cfg.gateway_cooldown_adv_enabled = IS_ENABLED(CONFIG_OLG_GATEWAY_COOLDOWN_ADV_ENABLE);
	cfg.gateway_cooldown_adv_period_ms = MAX(CONFIG_OLG_GATEWAY_COOLDOWN_ADV_PERIOD_MS, 1);
	cfg.gateway_cooldown_adv_window_ms = MAX(CONFIG_OLG_GATEWAY_COOLDOWN_ADV_WINDOW_MS, 1);
	cfg.gateway_session_timeout_ms = MAX(CONFIG_OLG_GATEWAY_SESSION_TIMEOUT_MS, 1);
	cfg.gateway_retry_count = (uint8_t)MIN(CONFIG_OLG_GATEWAY_RETRY_COUNT, 255);
	cfg.gateway_retry_min_ms = MAX(CONFIG_OLG_GATEWAY_RETRY_MIN_MS, 1);
	cfg.gateway_retry_max_ms = MAX(CONFIG_OLG_GATEWAY_RETRY_MAX_MS,
					cfg.gateway_retry_min_ms);
	finalize_config();
}

const struct olg_config *olg_config_get(void)
{
	return &cfg;
}

#if IS_ENABLED(CONFIG_FILE_SYSTEM)
static char *trim(char *text)
{
	while (*text && isspace((unsigned char)*text)) {
		text++;
	}

	char *end = text + strlen(text);
	while (end > text && isspace((unsigned char)end[-1])) {
		*--end = '\0';
	}

	return text;
}

static bool str_eq_ci(const char *a, const char *b)
{
	while (*a && *b) {
		if (tolower((unsigned char)*a) != tolower((unsigned char)*b)) {
			return false;
		}
		a++;
		b++;
	}

	return *a == '\0' && *b == '\0';
}

static bool parse_bool(const char *text, bool *out)
{
	if (str_eq_ci(text, "true") || str_eq_ci(text, "yes") || strcmp(text, "1") == 0) {
		*out = true;
		return true;
	}
	if (str_eq_ci(text, "false") || str_eq_ci(text, "no") || strcmp(text, "0") == 0) {
		*out = false;
		return true;
	}

	return false;
}

static bool parse_u32(const char *text, uint32_t *out)
{
	char *end = NULL;
	errno = 0;
	unsigned long value = strtoul(text, &end, 10);

	if (errno || end == text || *trim(end) != '\0' || value > UINT32_MAX) {
		return false;
	}

	*out = (uint32_t)value;
	return true;
}

static bool parse_decimal_scaled(const char *text, uint32_t scale, uint32_t *out)
{
	char *end = NULL;
	errno = 0;
	unsigned long whole = strtoul(text, &end, 10);

	if (errno || end == text || whole > UINT32_MAX / scale) {
		return false;
	}

	uint32_t value = (uint32_t)whole * scale;
	if (*end == '.') {
		end++;
		uint32_t frac_scale = scale / 10U;

		while (*end && isdigit((unsigned char)*end) && frac_scale > 0U) {
			value += (uint32_t)(*end - '0') * frac_scale;
			frac_scale /= 10U;
			end++;
		}
		while (*end && isdigit((unsigned char)*end)) {
			end++;
		}
	}

	if (*trim(end) != '\0') {
		return false;
	}

	*out = value;
	return true;
}

static bool parse_acc_odr(const char *text, uint32_t *out_millihz)
{
	uint32_t millihz = 0;

	if (!parse_decimal_scaled(text, 1000U, &millihz)) {
		return false;
	}

	switch (millihz) {
	case 12500:
	case 25000:
	case 50000:
	case 100000:
		*out_millihz = millihz;
		return true;
	default:
		return false;
	}
}

static bool parse_acc_range_g(const char *text, uint32_t *out_range_g)
{
	uint32_t range_g = 0;

	if (!parse_u32(text, &range_g)) {
		return false;
	}

	switch (range_g) {
	case 2:
	case 4:
	case 8:
	case 16:
		*out_range_g = range_g;
		return true;
	default:
		return false;
	}
}

static void apply_key_value(const char *key, const char *value)
{
	bool b = false;
	uint32_t u = 0;

	if (strcmp(key, "acc_enabled") == 0 && parse_bool(value, &b)) {
		cfg.acc_enabled = b;
	} else if (strcmp(key, "acc_odr_hz") == 0 && parse_acc_odr(value, &u)) {
		cfg.acc_odr_millihz = u;
	} else if (strcmp(key, "acc_range_g") == 0 && parse_acc_range_g(value, &u)) {
		cfg.acc_range_g = (uint8_t)u;
	} else if (strcmp(key, "ble_enabled") == 0 && parse_bool(value, &b)) {
		cfg.ble_enabled = b;
	} else if (strcmp(key, "ble_period_ms") == 0 && parse_u32(value, &u) && u > 0U) {
		cfg.ble_period_ms = u;
	} else if (strcmp(key, "ble_window_ms") == 0 && parse_u32(value, &u) && u > 0U) {
		cfg.ble_window_ms = u;
	} else if (strcmp(key, "ble_scan_interval_ms") == 0 && parse_u32(value, &u) && u > 0U) {
		cfg.ble_scan_interval_ms = u;
	} else if (strcmp(key, "ble_scan_window_ms") == 0 && parse_u32(value, &u) && u > 0U) {
		cfg.ble_scan_window_ms = u;
	} else if (strcmp(key, "gps_enabled") == 0 && parse_bool(value, &b)) {
		cfg.gps_enabled = b;
	} else if (strcmp(key, "gps_interval_ms") == 0 && parse_u32(value, &u) && u > 0U) {
		cfg.gps_interval_ms = u;
	} else if (strcmp(key, "gps_timeout_ms") == 0 && parse_u32(value, &u) && u > 0U) {
		cfg.gps_timeout_ms = u;
	} else if (strcmp(key, "gps_min_sats") == 0 && parse_u32(value, &u)) {
		cfg.gps_min_sats = (uint8_t)clamp_u32(u, 0U, 32U);
	} else if (strcmp(key, "gps_min_hdop") == 0 && parse_decimal_scaled(value, 100U, &u)) {
		cfg.gps_min_hdop_centi = (uint16_t)MIN(u, UINT16_MAX);
	} else if (strcmp(key, "gateway_enabled") == 0 && parse_bool(value, &b)) {
		cfg.gateway_enabled = b;
	} else if (strcmp(key, "gateway_upload_acc") == 0 && parse_bool(value, &b)) {
		cfg.gateway_upload_acc = b;
	} else if (strcmp(key, "gateway_upload_gps") == 0 && parse_bool(value, &b)) {
		cfg.gateway_upload_gps = b;
	} else if (strcmp(key, "gateway_upload_ble") == 0 && parse_bool(value, &b)) {
		cfg.gateway_upload_ble = b;
	} else if (strcmp(key, "gateway_period_ms") == 0 && parse_u32(value, &u) && u > 0U) {
		cfg.gateway_period_ms = u;
		cfg.gateway_eligible_adv_period_ms = u;
	} else if (strcmp(key, "gateway_adv_window_ms") == 0 && parse_u32(value, &u) && u > 0U) {
		cfg.gateway_adv_window_ms = u;
		cfg.gateway_eligible_adv_window_ms = u;
	} else if (strcmp(key, "gateway_download_cooldown_ms") == 0 &&
		   parse_u32(value, &u) && u > 0U) {
		cfg.gateway_download_cooldown_ms = u;
	} else if (strcmp(key, "gateway_eligible_adv_period_ms") == 0 &&
		   parse_u32(value, &u) && u > 0U) {
		cfg.gateway_eligible_adv_period_ms = u;
		cfg.gateway_period_ms = u;
	} else if (strcmp(key, "gateway_eligible_adv_window_ms") == 0 &&
		   parse_u32(value, &u) && u > 0U) {
		cfg.gateway_eligible_adv_window_ms = u;
		cfg.gateway_adv_window_ms = u;
	} else if (strcmp(key, "gateway_cooldown_adv_enabled") == 0 && parse_bool(value, &b)) {
		cfg.gateway_cooldown_adv_enabled = b;
	} else if (strcmp(key, "gateway_cooldown_adv_period_ms") == 0 &&
		   parse_u32(value, &u) && u > 0U) {
		cfg.gateway_cooldown_adv_period_ms = u;
	} else if (strcmp(key, "gateway_cooldown_adv_window_ms") == 0 &&
		   parse_u32(value, &u) && u > 0U) {
		cfg.gateway_cooldown_adv_window_ms = u;
	} else if (strcmp(key, "gateway_session_timeout_ms") == 0 && parse_u32(value, &u) && u > 0U) {
		cfg.gateway_session_timeout_ms = u;
	} else if (strcmp(key, "gateway_retry_count") == 0 && parse_u32(value, &u)) {
		cfg.gateway_retry_count = (uint8_t)MIN(u, 255U);
	} else if (strcmp(key, "gateway_retry_min_ms") == 0 && parse_u32(value, &u) && u > 0U) {
		cfg.gateway_retry_min_ms = u;
	} else if (strcmp(key, "gateway_retry_max_ms") == 0 && parse_u32(value, &u) && u > 0U) {
		cfg.gateway_retry_max_ms = u;
	}
}

static void parse_config_text(char *text)
{
	char *line = text;

	while (line && *line) {
		char *next = strpbrk(line, "\r\n");
		if (next) {
			*next++ = '\0';
			while (*next == '\r' || *next == '\n') {
				*next++ = '\0';
			}
		}

		char *body = trim(line);
		if (*body != '\0' && *body != '#' && *body != ';') {
			char *equals = strchr(body, '=');
			if (equals) {
				*equals = '\0';
				char *key = trim(body);
				char *value = trim(equals + 1);
				apply_key_value(key, value);
			}
		}

		line = next;
	}

	finalize_config();
}

static int write_config_defaults(struct fs_file_t *file)
{
	char buf[1024];
	char hdop[16];
	uint16_t hdop_whole = cfg.gps_min_hdop_centi / 100U;
	uint16_t hdop_frac = cfg.gps_min_hdop_centi % 100U;

	if (hdop_frac == 0U) {
		(void)snprintf(hdop, sizeof(hdop), "%u", hdop_whole);
	} else if ((hdop_frac % 10U) == 0U) {
		(void)snprintf(hdop, sizeof(hdop), "%u.%u", hdop_whole, hdop_frac / 10U);
	} else {
		(void)snprintf(hdop, sizeof(hdop), "%u.%02u", hdop_whole, hdop_frac);
	}

	int len = snprintf(buf, sizeof(buf),
			   "acc_enabled=%s\n"
			   "acc_odr_hz=%s\n"
			   "acc_range_g=%u\n\n"
			   "ble_enabled=%s\n"
			   "ble_period_ms=%u\n"
			   "ble_window_ms=%u\n"
			   "ble_scan_interval_ms=%u\n"
			   "ble_scan_window_ms=%u\n\n"
			   "gps_enabled=%s\n"
			   "gps_interval_ms=%u\n"
			   "gps_timeout_ms=%u\n"
			   "gps_min_sats=%u\n"
			   "gps_min_hdop=%s\n\n"
			   "gateway_enabled=%s\n"
			   "gateway_upload_acc=%s\n"
			   "gateway_upload_gps=%s\n"
			   "gateway_upload_ble=%s\n"
			   "gateway_download_cooldown_ms=%u\n"
			   "gateway_eligible_adv_period_ms=%u\n"
			   "gateway_eligible_adv_window_ms=%u\n"
			   "gateway_cooldown_adv_enabled=%s\n"
			   "gateway_cooldown_adv_period_ms=%u\n"
			   "gateway_cooldown_adv_window_ms=%u\n"
			   "gateway_session_timeout_ms=%u\n"
			   "gateway_retry_count=%u\n"
			   "gateway_retry_min_ms=%u\n"
			   "gateway_retry_max_ms=%u\n",
			   cfg.acc_enabled ? "true" : "false",
			   cfg.acc_odr_millihz == 12500U ? "12.5" :
			   cfg.acc_odr_millihz == 25000U ? "25" :
			   cfg.acc_odr_millihz == 50000U ? "50" : "100",
			   cfg.acc_range_g,
			   cfg.ble_enabled ? "true" : "false",
			   cfg.ble_period_ms,
			   cfg.ble_window_ms,
			   cfg.ble_scan_interval_ms,
			   cfg.ble_scan_window_ms,
			   cfg.gps_enabled ? "true" : "false",
			   cfg.gps_interval_ms,
			   cfg.gps_timeout_ms,
			   cfg.gps_min_sats,
			   hdop,
			   cfg.gateway_enabled ? "true" : "false",
			   cfg.gateway_upload_acc ? "true" : "false",
			   cfg.gateway_upload_gps ? "true" : "false",
			   cfg.gateway_upload_ble ? "true" : "false",
			   cfg.gateway_download_cooldown_ms,
			   cfg.gateway_eligible_adv_period_ms,
			   cfg.gateway_eligible_adv_window_ms,
			   cfg.gateway_cooldown_adv_enabled ? "true" : "false",
			   cfg.gateway_cooldown_adv_period_ms,
			   cfg.gateway_cooldown_adv_window_ms,
			   cfg.gateway_session_timeout_ms,
			   cfg.gateway_retry_count,
			   cfg.gateway_retry_min_ms,
			   cfg.gateway_retry_max_ms);

	if (len < 0 || len >= (int)sizeof(buf)) {
		return -EINVAL;
	}

	ssize_t written = fs_write(file, buf, (size_t)len);
	if (written < 0) {
		return (int)written;
	}
	if (written != len) {
		return -EIO;
	}

	return fs_sync(file);
}

static int create_default_file(const char *path)
{
	struct fs_file_t file;
	fs_file_t_init(&file);

	int err = fs_open(&file, path, FS_O_WRITE | FS_O_CREATE | FS_O_TRUNC);
	if (err) {
		return err;
	}

	err = write_config_defaults(&file);
	int close_err = fs_close(&file);

	return err ? err : close_err;
}

int olg_config_load_or_create(const char *path)
{
	struct fs_file_t file;
	fs_file_t_init(&file);

	int err = fs_open(&file, path, FS_O_READ);
	if (err == -ENOENT || err == -ENODEV || err == -EINVAL) {
		return create_default_file(path);
	}
	if (err) {
		return err;
	}

	char buf[1024];
	ssize_t got = fs_read(&file, buf, sizeof(buf) - 1U);
	int close_err = fs_close(&file);
	if (got < 0) {
		return (int)got;
	}
	if (close_err) {
		return close_err;
	}

	buf[got] = '\0';
	parse_config_text(buf);
	return 0;
}
#else
int olg_config_load_or_create(const char *path)
{
	ARG_UNUSED(path);

	return 0;
}
#endif
```

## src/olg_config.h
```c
#pragma once

#include <stdbool.h>
#include <stdint.h>

struct olg_config {
	bool acc_enabled;
	uint32_t acc_odr_millihz;
	uint8_t acc_range_g;

	bool ble_enabled;
	uint32_t ble_period_ms;
	uint32_t ble_window_ms;
	uint32_t ble_scan_interval_ms;
	uint32_t ble_scan_window_ms;

	bool gps_enabled;
	uint32_t gps_interval_ms;
	uint32_t gps_timeout_ms;
	uint8_t gps_min_sats;
	uint16_t gps_min_hdop_centi;

	bool gateway_enabled;
	bool gateway_upload_acc;
	bool gateway_upload_gps;
	bool gateway_upload_ble;
	uint32_t gateway_period_ms;
	uint32_t gateway_adv_window_ms;
	uint32_t gateway_download_cooldown_ms;
	uint32_t gateway_eligible_adv_period_ms;
	uint32_t gateway_eligible_adv_window_ms;
	bool gateway_cooldown_adv_enabled;
	uint32_t gateway_cooldown_adv_period_ms;
	uint32_t gateway_cooldown_adv_window_ms;
	uint32_t gateway_session_timeout_ms;
	uint8_t gateway_retry_count;
	uint32_t gateway_retry_min_ms;
	uint32_t gateway_retry_max_ms;
};

void olg_config_init_defaults(void);
const struct olg_config *olg_config_get(void);
int olg_config_load_or_create(const char *path);
```

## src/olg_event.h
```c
#ifndef OLG_EVENT_H
#define OLG_EVENT_H

#include <stdint.h>

enum olg_event_type {
	OLG_EVT_ACC = 1,
	OLG_EVT_GPS = 2,
	OLG_EVT_BLE = 3,
};

struct olg_acc_payload {
	uint32_t ms;
	int16_t x;
	int16_t y;
	int16_t z;
} __attribute__((packed));

struct olg_ble_payload {
	uint32_t ms;
	uint8_t mac[6];
	int8_t rssi;
} __attribute__((packed));

struct olg_gps_payload {
	uint32_t ms;
	float lat;
	float lon;
} __attribute__((packed));

#endif
```

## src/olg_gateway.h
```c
#pragma once

#include <stdbool.h>
#include <stdint.h>

int olg_gateway_init(void);
void olg_gateway_service(uint32_t now_ms);
uint32_t olg_gateway_ms_until_transition(uint32_t now_ms);
bool olg_gateway_radio_active(void);
```
